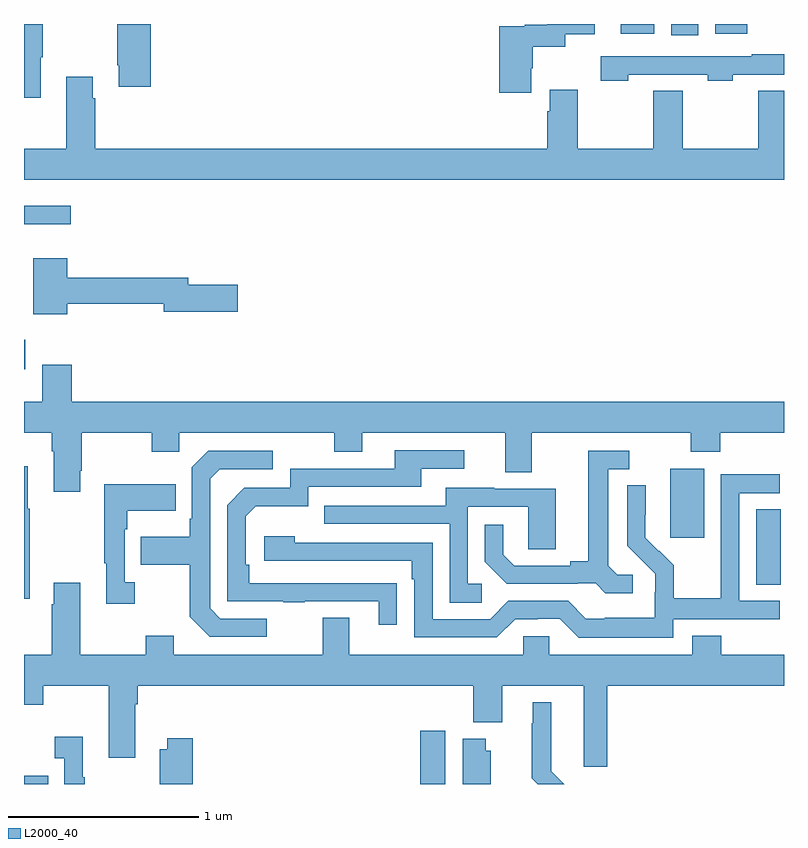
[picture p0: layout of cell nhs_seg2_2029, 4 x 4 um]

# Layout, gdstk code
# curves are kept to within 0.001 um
import gdstk
lib = gdstk.Library(unit=1e-6, precision=1e-09)
def R(c, l, rs):  # rectangles x0, y0, x1, y1
    for r in rs: c.add(gdstk.rectangle(r[:2], r[2:], *l))
def P(c, l, *ps):  # polygons
    for p in ps: c.add(gdstk.Polygon(p, *l))
L2000_40 = (2000, 40)

nhs_seg2_2029 = lib.new_cell('nhs_seg2_2029')
R(nhs_seg2_2029, L2000_40, [(217,633.8,217.127,633.843), (219.086,633.8,219.217,634.081), (220.853,634.849,220.984,635.246), (220.4,635.097,220.579,635.458), (217,635.984,217.006,636.138), (217,636.747,217.246,636.844), (220.406,637.74,220.549,637.8), (220.142,637.748,220.318,637.8), (220.637,637.748,220.807,637.8)])
P(nhs_seg2_2029, L2000_40, [(217.667,637.8),(217.492,637.8),(217.492,637.582),(217.499,637.582),(217.499,637.47),(217.667,637.47)],
  [(217.087,637.625),(217.099,637.625),(217.099,637.8),(217,637.8),(217,637.413),(217.087,637.413)],
  [(219.67,637.566),(219.678,637.566),(219.678,637.679),(219.849,637.679),(219.849,637.745),(220.003,637.745),(220.003,637.8),(219.753,637.8),(219.753,637.797),(219.636,637.797),(219.636,637.789),(219.5,637.789),(219.5,637.437),(219.67,637.437)],
  [(220.179,637.533),(220.599,637.533),(220.599,637.501),(220.731,637.501),(220.731,637.533),(221,637.533),(221,637.642),(220.831,637.642),(220.831,637.629),(220.035,637.629),(220.035,637.501),(220.179,637.501)],
  [(221,637.448),(220.864,637.448),(220.864,637.144),(220.466,637.144),(220.466,637.448),(220.312,637.448),(220.312,637.144),(219.915,637.144),(219.915,637.453),(219.767,637.453),(219.767,637.34),(219.755,637.34),(219.755,637.144),(217.376,637.144),(217.376,637.409),(217.363,637.409),(217.363,637.522),(217.223,637.522),(217.223,637.144),(217,637.144),(217,636.98),(221,636.98)],
  [(217.228,636.328),(217.736,636.328),(217.736,636.286),(218.125,636.286),(218.125,636.428),(217.864,636.428),(217.864,636.464),(217.228,636.464),(217.228,636.568),(217.049,636.568),(217.049,636.272),(217.228,636.272)],
  [(217.297,635.449),(217.305,635.449),(217.305,635.648),(217.672,635.648),(217.672,635.549),(217.818,635.549),(217.818,635.648),(218.632,635.648),(218.632,635.549),(218.779,635.549),(218.779,635.648),(219.533,635.648),(219.533,635.44),(219.673,635.44),(219.673,635.648),(220.51,635.648),(220.51,635.549),(220.665,635.549),(220.665,635.648),(221,635.648),(221,635.812),(217.25,635.812),(217.25,636.007),(217.097,636.007),(217.097,635.812),(217,635.812),(217,635.648),(217.145,635.648),(217.145,635.552),(217.157,635.552),(217.157,635.337),(217.297,635.337)],
  [(218.963,634.856),(218.186,634.857),(218.186,634.954),(218.166,634.954),(218.166,635.208),(218.219,635.261),(218.496,635.261),(218.496,635.364),(219.091,635.364),(219.091,635.46),(219.316,635.46),(219.316,635.556),(218.951,635.556),(218.951,635.46),(218.4,635.46),(218.4,635.358),(218.16,635.358),(218.07,635.268),(218.07,634.761),(218.365,634.761),(218.365,634.756),(218.477,634.756),(218.477,634.761),(218.867,634.761),(218.867,634.638),(218.963,634.638)],
  [(220.204,634.902),(220.122,634.902),(220.075,634.949),(220.075,635.457),(220.186,635.457),(220.186,635.553),(219.971,635.553),(219.971,634.973),(219.875,634.973),(219.875,634.95),(219.58,634.95),(219.523,635.007),(219.523,635.164),(219.426,635.164),(219.426,634.97),(219.542,634.854),(219.914,634.854),(219.914,634.857),(220.008,634.857),(220.06,634.805),(220.204,634.805)],
  [(218.278,634.671),(218.034,634.671),(217.98,634.725),(217.98,635.406),(218.031,635.457),(218.308,635.457),(218.308,635.553),(217.971,635.553),(217.884,635.466),(217.884,635.197),(217.872,635.197),(217.872,635.101),(217.615,635.101),(217.615,634.954),(217.872,634.954),(217.872,634.681),(217.977,634.575),(218.278,634.575)],
  [(217.029,635.249),(217.021,635.249),(217.021,635.473),(217,635.473),(217,634.774),(217.029,634.774)],
  [(220.416,634.668),(220.978,634.668),(220.978,634.764),(220.764,634.764),(220.764,635.331),(220.978,635.331),(220.978,635.43),(220.668,635.43),(220.668,635),(220.666,635),(220.666,634.777),(220.421,634.777),(220.421,634.951),(220.344,635.028),(220.341,635.025),(220.271,635.096),(220.272,635.372),(220.176,635.372),(220.176,635.054),(220.322,634.906),(220.322,634.809),(220.32,634.809),(220.32,634.675),(220.057,634.675),(220.057,634.671),(219.957,634.671),(219.864,634.764),(219.549,634.764),(219.453,634.668),(219.15,634.668),(219.15,635.07),(218.426,635.07),(218.426,635.104),(218.265,635.104),(218.265,634.974),(219.041,634.974),(219.041,634.877),(219.054,634.877),(219.054,634.572),(219.489,634.572),(219.585,634.668),(219.704,634.668),(219.704,634.671),(219.819,634.671),(219.919,634.571),(220.416,634.571)],
  [(217.582,634.862),(217.53,634.862),(217.53,635.141),(217.543,635.141),(217.543,635.237),(217.799,635.237),(217.799,635.377),(217.422,635.377),(217.422,634.961),(217.433,634.961),(217.433,634.749),(217.582,634.749)],
  [(219.409,634.854),(219.336,634.854),(219.336,635.259),(219.654,635.259),(219.654,635.035),(219.799,635.035),(219.799,635.355),(219.475,635.355),(219.475,635.359),(219.221,635.359),(219.221,635.265),(218.581,635.265),(218.581,635.169),(219.24,635.169),(219.24,634.753),(219.409,634.753)],
  [(220.07,634.316),(221,634.316),(221,634.48),(220.67,634.48),(220.67,634.579),(220.517,634.579),(220.517,634.48),(219.765,634.48),(219.765,634.578),(219.627,634.578),(219.627,634.48),(218.713,634.48),(218.713,634.675),(218.573,634.675),(218.573,634.48),(217.789,634.48),(217.789,634.579),(217.642,634.579),(217.642,634.48),(217.297,634.48),(217.297,634.858),(217.157,634.858),(217.157,634.745),(217.145,634.745),(217.145,634.48),(217,634.48),(217,634.217),(217.101,634.217),(217.101,634.316),(217.445,634.316),(217.445,633.939),(217.585,633.939),(217.585,634.22),(217.598,634.22),(217.598,634.316),(219.365,634.316),(219.365,634.124),(219.517,634.124),(219.517,634.316),(219.947,634.316),(219.947,633.891),(220.07,633.891)],
  [(219.775,633.868),(219.775,634.231),(219.677,634.231),(219.677,634.121),(219.673,634.121),(219.673,633.83),(219.703,633.8),(219.843,633.8)],
  [(217.321,633.835),(217.309,633.835),(217.309,634.048),(217.161,634.048),(217.161,633.935),(217.212,633.935),(217.212,633.8),(217.321,633.8)],
  [(217.889,634.042),(217.754,634.042),(217.754,633.982),(217.714,633.982),(217.714,633.8),(217.889,633.8)],
  [(219.457,633.975),(219.43,633.975),(219.43,634.039),(219.308,634.039),(219.308,633.8),(219.457,633.8)])

lib.write_gds('nhs_seg2_2029.gds')
